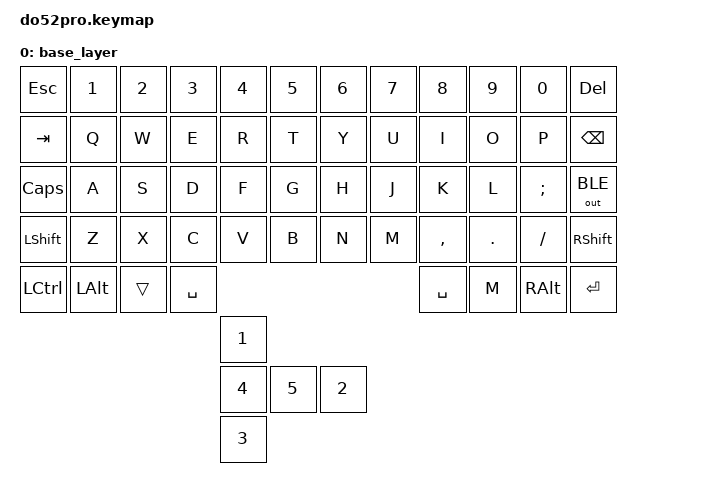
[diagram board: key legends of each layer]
#include <zephyr/dt-bindings/input/input-event-codes.h>
#include <dt-bindings/zmk/outputs.h>
#include <behaviors.dtsi>
#include <dt-bindings/zmk/bt.h>
#include <dt-bindings/zmk/keys.h>

/ {
    keymap {
        compatible = "zmk,keymap";

        base_layer {
            bindings = <
&kp ESCAPE    &kp N1          &kp N2             &kp N3            &kp N4           &kp N5      &kp N6     &kp N7    &kp N8      &kp N9   &kp N0         &kp DELETE
&kp TAB       &kp Q           &kp W              &kp E             &kp R            &kp T       &kp Y      &kp U     &kp I       &kp O    &kp P          &kp BSPC
&kp CAPSLOCK  &kp A           &kp S              &kp D             &kp F            &kp G       &kp H      &kp J     &kp K       &kp L    &kp SEMI       &out OUT_BLE
&kp LSHFT     &kp Z           &kp X              &kp C             &kp V            &kp B       &kp N      &kp M     &kp COMMA   &kp DOT  &kp FSLH       &kp RSHFT
&kp LCTRL     &kp LEFT_ALT                                         &trans           &kp SPACE   &kp SPACE  &kp M                         &kp RIGHT_ALT  &kp ENTER
                                                                   &kp 1
                                                             &kp 4 &kp 5 &kp 2
                                                                   &kp 3
            >;
        };
    };
};
